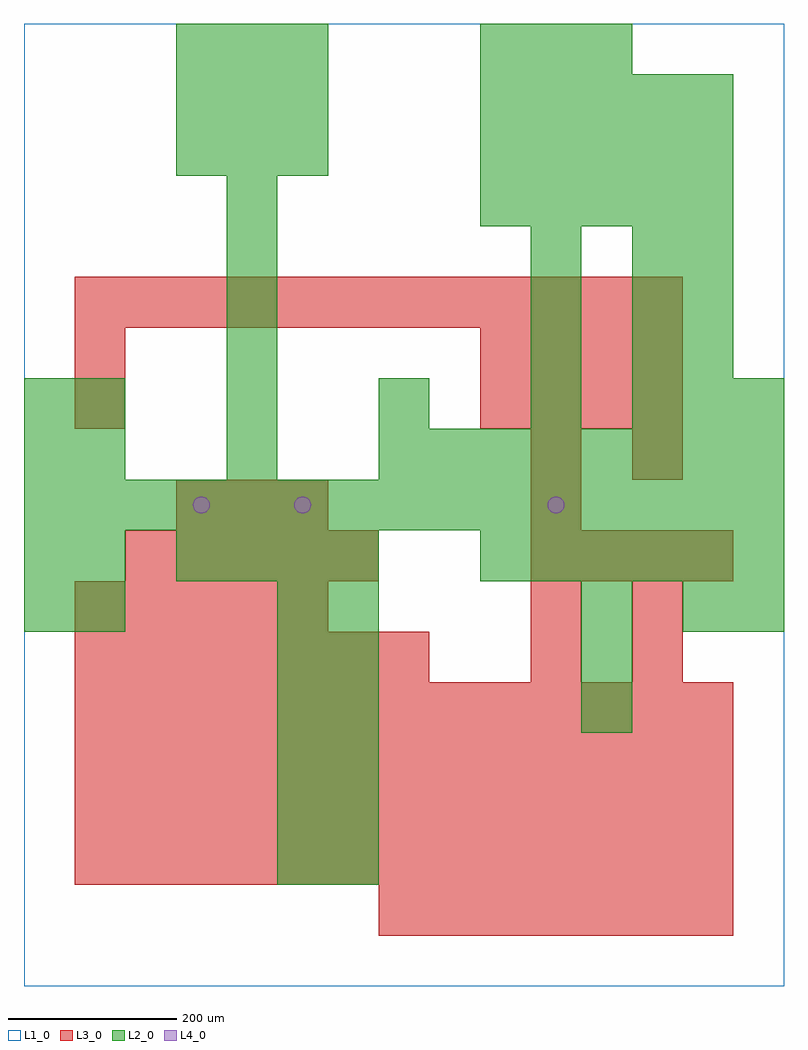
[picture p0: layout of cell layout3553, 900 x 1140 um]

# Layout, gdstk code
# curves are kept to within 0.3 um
import gdstk
lib = gdstk.Library(unit=1e-6, precision=1e-09)
def R(c, l, rs):  # rectangles x0, y0, x1, y1
    for r in rs: c.add(gdstk.rectangle(r[:2], r[2:], *l))
def A(c, l, x, y, w, h, nx, ny, dx, dy):  # array of equal rectangles
    R(c, l, [(x+i*dx, y+j*dy, x+i*dx+w, y+j*dy+h) for i in range(nx) for j in range(ny)])
def P(c, l, *ps):  # polygons
    for p in ps: c.add(gdstk.Polygon(p, *l))
L1_0 = (1, 0)
L2_0 = (2, 0)
L3_0 = (3, 0)
L4_0 = (4, 0)

layout3553 = lib.new_cell('layout3553')
R(layout3553, L1_0, [(0,0,900,1140)])
A(layout3553, L2_0, 300, 120, 60, 60, 1, 6, 0, 60)
A(layout3553, L2_0, 360, 120, 60, 60, 1, 6, 0, 60)
A(layout3553, L2_0, 660, 300, 60, 60, 1, 3, 0, 60)
A(layout3553, L2_0, 180, 480, 60, 60, 4, 1, 60, 0)
A(layout3553, L2_0, 540, 480, 60, 60, 6, 1, 60, 0)
A(layout3553, L2_0, 0, 540, 60, 60, 15, 1, 60, 0)
A(layout3553, L2_0, 60, 600, 60, 60, 3, 1, 180, 0)
A(layout3553, L2_0, 480, 600, 60, 60, 7, 1, 60, 0)
A(layout3553, L2_0, 60, 660, 60, 60, 4, 1, 180, 0)
A(layout3553, L2_0, 720, 660, 60, 60, 3, 1, 60, 0)
A(layout3553, L2_0, 240, 720, 60, 60, 1, 4, 0, 60)
A(layout3553, L2_0, 600, 720, 60, 60, 1, 3, 0, 60)
A(layout3553, L2_0, 720, 720, 60, 60, 1, 3, 0, 60)
A(layout3553, L2_0, 780, 720, 60, 60, 1, 3, 0, 60)
A(layout3553, L2_0, 540, 900, 60, 60, 5, 3, 60, 60)
A(layout3553, L2_0, 180, 960, 60, 60, 3, 3, 60, 60)
A(layout3553, L2_0, 540, 1080, 60, 60, 3, 1, 60, 0)
R(layout3553, L2_0, [(0,420,60,480), (60,420,120,480), (780,420,840,480), (840,420,900,480), (0,480,60,540), (60,480,120,540), (0,600,60,660), (0,660,60,720)])
A(layout3553, L3_0, 420, 60, 60, 60, 7, 1, 60, 0)
A(layout3553, L3_0, 60, 120, 60, 60, 13, 4, 60, 60)
A(layout3553, L3_0, 60, 360, 60, 60, 7, 1, 60, 0)
A(layout3553, L3_0, 60, 420, 60, 60, 5, 1, 60, 0)
A(layout3553, L3_0, 120, 480, 60, 60, 5, 1, 60, 0)
A(layout3553, L3_0, 600, 480, 60, 60, 4, 1, 60, 0)
A(layout3553, L3_0, 180, 540, 60, 60, 3, 1, 60, 0)
A(layout3553, L3_0, 540, 660, 60, 60, 4, 2, 60, 60)
A(layout3553, L3_0, 60, 780, 60, 60, 12, 1, 60, 0)
R(layout3553, L3_0, [(600,360,660,420), (720,360,780,420), (600,420,660,480), (720,420,780,480), (600,540,660,600), (600,600,660,660), (720,600,780,660), (60,660,120,720), (60,720,120,780)])
P(layout3553, L4_0, [(220,570),(219.239,573.827),(217.071,577.071),(213.827,579.239),(210,580),(206.173,579.239),(202.929,577.071),(200.761,573.827),(200,570),(200.761,566.173),(202.929,562.929),(206.173,560.761),(210,560),(213.827,560.761),(217.071,562.929),(219.239,566.173)],
  [(340,570),(339.239,573.827),(337.071,577.071),(333.827,579.239),(330,580),(326.173,579.239),(322.929,577.071),(320.761,573.827),(320,570),(320.761,566.173),(322.929,562.929),(326.173,560.761),(330,560),(333.827,560.761),(337.071,562.929),(339.239,566.173)],
  [(640,570),(639.239,573.827),(637.071,577.071),(633.827,579.239),(630,580),(626.173,579.239),(622.929,577.071),(620.761,573.827),(620,570),(620.761,566.173),(622.929,562.929),(626.173,560.761),(630,560),(633.827,560.761),(637.071,562.929),(639.239,566.173)])

lib.write_gds('layout3553.gds')
